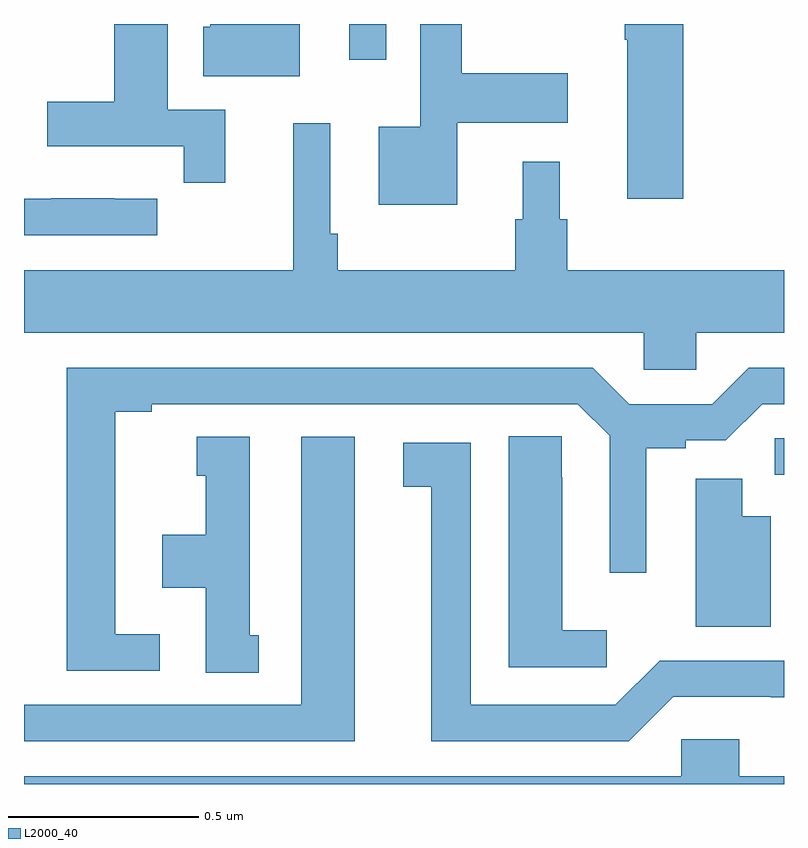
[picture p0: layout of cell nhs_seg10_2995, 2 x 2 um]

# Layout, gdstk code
import gdstk
lib = gdstk.Library(unit=1e-6, precision=1e-09)
def R(c, l, rs):  # rectangles x0, y0, x1, y1
    for r in rs: c.add(gdstk.rectangle(r[:2], r[2:], *l))
def P(c, l, *ps):  # polygons
    for p in ps: c.add(gdstk.Polygon(p, *l))
L2000_40 = (2000, 40)

nhs_seg10_2995 = lib.new_cell('nhs_seg10_2995')
R(nhs_seg10_2995, L2000_40, [(149.976,1261.314,150,1261.41), (148.856,1262.406,148.953,1262.5)])
P(nhs_seg10_2995, L2000_40, [(149.14,1262.24),(149.431,1262.24),(149.431,1262.37),(149.152,1262.37),(149.152,1262.5),(149.043,1262.5),(149.043,1262.23),(148.934,1262.23),(148.934,1262.024),(149.14,1262.024)],
  [(149.735,1262.5),(149.581,1262.5),(149.581,1262.458),(149.588,1262.458),(149.588,1262.04),(149.735,1262.04)],
  [(148.529,1262.274),(148.378,1262.274),(148.378,1262.5),(148.238,1262.5),(148.238,1262.295),(148.061,1262.295),(148.061,1262.178),(148.42,1262.178),(148.42,1262.082),(148.529,1262.082)],
  [(148.726,1262.5),(148.49,1262.5),(148.49,1262.493),(148.472,1262.493),(148.472,1262.363),(148.726,1262.363)],
  [(149.769,1261.688),(150,1261.688),(150,1261.852),(149.429,1261.852),(149.429,1261.986),(149.41,1261.986),(149.41,1262.137),(149.312,1262.137),(149.312,1261.986),(149.293,1261.986),(149.293,1261.852),(148.826,1261.852),(148.826,1261.948),(148.806,1261.948),(148.806,1262.239),(148.709,1262.239),(148.709,1261.852),(148,1261.852),(148,1261.688),(149.631,1261.688),(149.631,1261.59),(149.769,1261.59)],
  [(148.351,1262.04),(148.238,1262.04),(148.238,1262.041),(148.072,1262.041),(148.072,1262.04),(148,1262.04),(148,1261.944),(148.351,1261.944)],
  [(148.357,1260.894),(148.24,1260.894),(148.24,1261.48),(148.336,1261.48),(148.336,1261.5),(149.457,1261.5),(149.541,1261.416),(149.541,1261.056),(149.638,1261.056),(149.638,1261.384),(149.742,1261.384),(149.742,1261.404),(149.847,1261.404),(149.943,1261.5),(150,1261.5),(150,1261.596),(149.907,1261.596),(149.811,1261.5),(149.593,1261.5),(149.497,1261.596),(148.112,1261.596),(148.112,1260.798),(148.357,1260.798)],
  [(149.533,1260.904),(149.416,1260.904),(149.416,1261.307),(149.415,1261.307),(149.415,1261.415),(149.276,1261.415),(149.276,1260.807),(149.533,1260.807)],
  [(148.87,1261.414),(148.73,1261.414),(148.73,1260.708),(148,1260.708),(148,1260.612),(148.87,1260.612)],
  [(148.618,1260.891),(148.594,1260.891),(148.594,1261.414),(148.454,1261.414),(148.454,1261.311),(148.478,1261.311),(148.478,1261.156),(148.364,1261.156),(148.364,1261.016),(148.478,1261.016),(148.478,1260.793),(148.618,1260.793)],
  [(149.709,1260.729),(149.965,1260.729),(149.965,1260.728),(150,1260.728),(150,1260.825),(149.673,1260.825),(149.556,1260.708),(149.176,1260.708),(149.176,1261.398),(148.998,1261.398),(148.998,1261.282),(149.072,1261.282),(149.072,1260.612),(149.592,1260.612)],
  [(149.965,1261.204),(149.89,1261.204),(149.89,1261.303),(149.768,1261.303),(149.768,1260.914),(149.965,1260.914)],
  [(150,1260.52),(149.882,1260.52),(149.882,1260.618),(149.73,1260.618),(149.73,1260.52),(148,1260.52),(148,1260.5),(150,1260.5)])

lib.write_gds('nhs_seg10_2995.gds')
